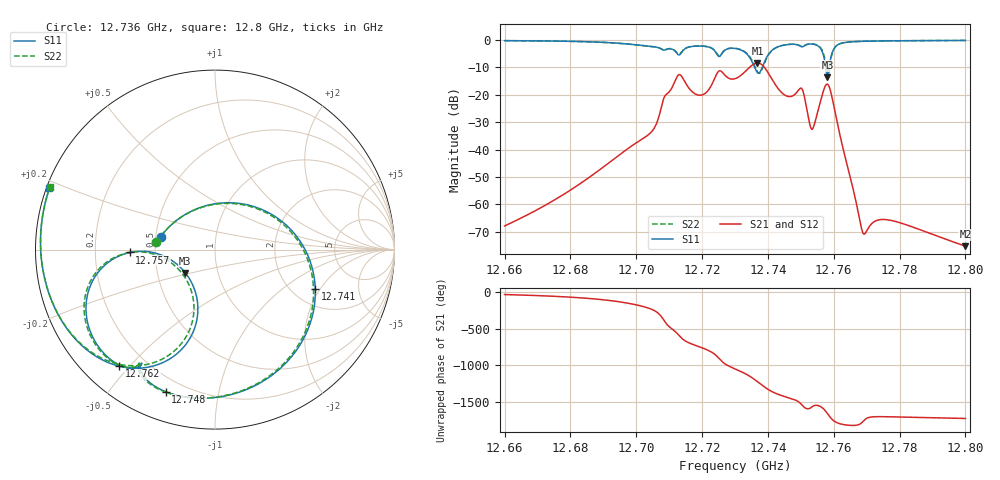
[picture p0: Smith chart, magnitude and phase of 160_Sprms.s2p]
! TOUCHSTONE file generated by CST MICROWAVE STUDIO
! Date and time: Wed Jul 31 18:56:11 2024
! Project name: WaveGuide_BPF-Ver4.1_U-shape_Ku_T3_C4_CWA_2.cst
! Parameters = {cavity_h=16; cavity_l0=10; cavity_l1=15.2197; cavity_l2=16.8706; cavity_l3=17.0699; cavity_l4=17.2404; cavity_l5=17.1632; cavity_l6=17.5843; cavity_r=2.5; cavity_screw_l=0.5; cavity_screw_r=1.5; cavity_w=8; iris_h00=0; iris_h01=8.8323; iris_h112=0; iris_h12=5.5909; iris_h211=3.6538; 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
! Header version: 2018
! Port assignment regex: !\s*Touchstone port\s*([0-9]+)\s*=\s*(CST MWS port|CST DS port)\s*([0-9]+|Zmin|Zmax)\s*\(\"(.*)\"\)(\s*mode\s*([0-9]+))?.*
! Touchstone port assignment:
! Touchstone port 1 = CST MWS port 1 ("")
! Touchstone port 2 = CST MWS port 2 ("")
# GHz S RI R 50
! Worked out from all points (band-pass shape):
!   5001 points, 12.66 GHz to 12.8 GHz, reference 50 ohm
!   highest |S21| = -8.37 dB at 12.737 GHz (marker M1); lowest = -75.3 dB at 12.8 GHz (marker M2)
!   |S21| within 3 dB of the highest: 12.72506 GHz to 12.72575 GHz (688.8 kHz wide, 0.00541 % of centre); 12.73321 GHz to 12.73977 GHz (6.562 MHz wide, 0.0515 % of centre)
!   lowest |S11| = -13.6 dB at 12.758 GHz (marker M3), VSWR 1.53, Z = 34.8 - j9.44 ohm
!   |S11| at or under -10 dB: 12.73599 GHz to 12.73825 GHz (2.261 MHz wide, 0.0178 % of centre); 12.75755 GHz to 12.75862 GHz (1.066 MHz wide, 0.00836 % of centre)
!   |S22| runs from -12.9 to -0.1 dB; largest |S21 - S12| = 1e-09
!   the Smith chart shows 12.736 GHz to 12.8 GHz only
!   S11 on the Smith chart (normalised r, x): 12.736 GHz: 0.53, +0.09; 12.741 GHz: 2.63, -1.81; 12.748 GHz: 0.13, -0.70; 12.757 GHz: 0.36, -0.01; 12.762 GHz: 0.11, -0.47; 12.8 GHz: 0.01, +0.18
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12.66  0.448 0.8673  0.00034 -0.000214  0.00034 -0.000214  0.458 0.8618
12.68335  0.8845 0.3148  0.000524 -0.00241  0.000524 -0.00241  0.8909 0.2935
12.6929  0.8326 -0.3118  -0.00317 -0.00566  -0.00317 -0.00566  0.819 -0.3419
12.69982  0.2381 -0.7846  -0.0129 -0.00189  -0.0129 -0.00189  0.1976 -0.7948
12.70668  -0.6746 -0.274  0.0112 0.0347  0.0112 0.0347  -0.6895 -0.2426
12.71281  -0.3456 0.4117  -0.169 0.1563  -0.169 0.1563  -0.3475 0.4347
12.7176  0.1018 0.7652  0.1067 -0.00311  0.1067 -0.00311  0.1233 0.7648
12.72244  0.6825 0.2648  0.00246 -0.1355  0.00246 -0.1355  0.6906 0.2544
12.73  0.4015 -0.5771  0.1696 0.0999  0.1696 0.0999  0.3892 -0.592
12.73605  -0.302 0.0726  -0.1755 -0.329  -0.1755 -0.329  -0.3267 0.0397
12.73683  -0.1543 0.2022  -0.3104 -0.2217  -0.3104 -0.2217  -0.1922 0.1783
12.74067  0.5587 -0.2194  -0.0128 0.2196  -0.0128 0.2196  0.5487 -0.2112
12.74789  -0.2743 -0.792  0.0873 -0.0457  0.0873 -0.0457  -0.2883 -0.7892
12.75038  -0.4081 -0.6325  -0.0321 -0.1232  -0.0321 -0.1232  -0.4215 -0.6322
12.75335  -0.6472 -0.5439  -0.015 -0.018  -0.015 -0.018  -0.6561 -0.5427
12.75705  -0.475 -0.016  -0.1213 -0.0379  -0.1213 -0.0379  -0.5226 -0.0281
12.75808  -0.1651 -0.1297  -0.1183 0.102  -0.1183 0.102  -0.2151 -0.0979
12.76153  -0.5325 -0.6497  0.0227 0.0022  0.0227 0.0022  -0.5445 -0.6365
12.76889  -0.8917 -0.3271  0.000253 0.000156  0.000253 0.000156  -0.8984 -0.3105
12.77668  -0.9641 -0.0798  -4.93e-05 0.000515  -4.93e-05 0.000515  -0.9657 -0.0651
12.79994  -0.9226 0.3409  5.24e-05 0.000164  5.24e-05 0.000164  -0.9193 0.3505
12.8  -0.9224 0.3416  5.24e-05 0.000163  5.24e-05 0.000163  -0.919 0.3512
